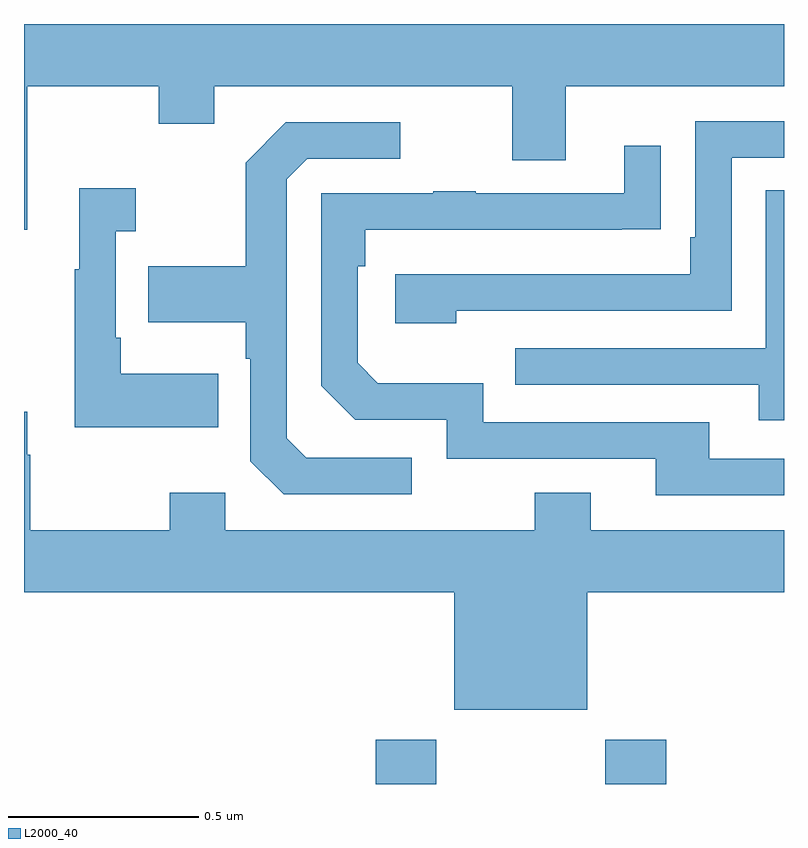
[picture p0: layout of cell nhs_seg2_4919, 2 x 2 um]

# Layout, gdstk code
import gdstk
lib = gdstk.Library(unit=1e-6, precision=1e-09)
def R(c, l, rs):  # rectangles x0, y0, x1, y1
    for r in rs: c.add(gdstk.rectangle(r[:2], r[2:], *l))
def P(c, l, *ps):  # polygons
    for p in ps: c.add(gdstk.Polygon(p, *l))
L2000_40 = (2000, 40)

nhs_seg2_4919 = lib.new_cell('nhs_seg2_4919')
R(nhs_seg2_4919, L2000_40, [(172.925,645.8,173.085,645.916), (173.53,645.8,173.69,645.916)])
P(nhs_seg2_4919, L2000_40, [(172.009,647.636),(172.354,647.636),(172.354,647.537),(172.501,647.537),(172.501,647.636),(173.285,647.636),(173.285,647.442),(173.425,647.442),(173.425,647.636),(174,647.636),(174,647.8),(172,647.8),(172,647.259),(172.009,647.259)],
  [(173.138,647.046),(173.862,647.046),(173.862,647.448),(174,647.448),(174,647.544),(173.766,647.544),(173.766,647.239),(173.753,647.239),(173.753,647.142),(172.977,647.142),(172.977,647.012),(173.138,647.012)],
  [(173.02,646.659),(172.743,646.659),(172.692,646.71),(172.692,647.391),(172.746,647.445),(172.99,647.445),(172.99,647.541),(172.689,647.541),(172.584,647.435),(172.584,647.163),(172.327,647.163),(172.327,647.015),(172.584,647.015),(172.584,646.919),(172.596,646.919),(172.596,646.65),(172.683,646.563),(173.02,646.563)],
  [(174,646.656),(173.803,646.656),(173.803,646.752),(173.208,646.752),(173.208,646.855),(172.931,646.855),(172.878,646.908),(172.878,647.162),(172.898,647.162),(172.898,647.259),(173.573,647.259),(173.573,647.26),(173.675,647.26),(173.675,647.479),(173.579,647.479),(173.579,647.355),(173.189,647.355),(173.189,647.36),(173.077,647.36),(173.077,647.355),(172.782,647.355),(172.782,646.848),(172.872,646.758),(173.112,646.758),(173.112,646.656),(173.663,646.656),(173.663,646.56),(174,646.56)],
  [(172.511,646.879),(172.255,646.879),(172.255,646.975),(172.242,646.975),(172.242,647.255),(172.294,647.255),(172.294,647.368),(172.145,647.368),(172.145,647.155),(172.134,647.155),(172.134,646.739),(172.511,646.739)],
  [(174,647.363),(173.952,647.363),(173.952,646.947),(173.293,646.947),(173.293,646.851),(173.933,646.851),(173.933,646.757),(174,646.757)],
  [(173.482,646.304),(174,646.304),(174,646.468),(173.491,646.468),(173.491,646.567),(173.344,646.567),(173.344,646.468),(172.53,646.468),(172.53,646.567),(172.384,646.567),(172.384,646.468),(172.017,646.468),(172.017,646.667),(172.009,646.667),(172.009,646.78),(172,646.78),(172,646.304),(173.132,646.304),(173.132,645.995),(173.482,645.995)])

lib.write_gds('nhs_seg2_4919.gds')
